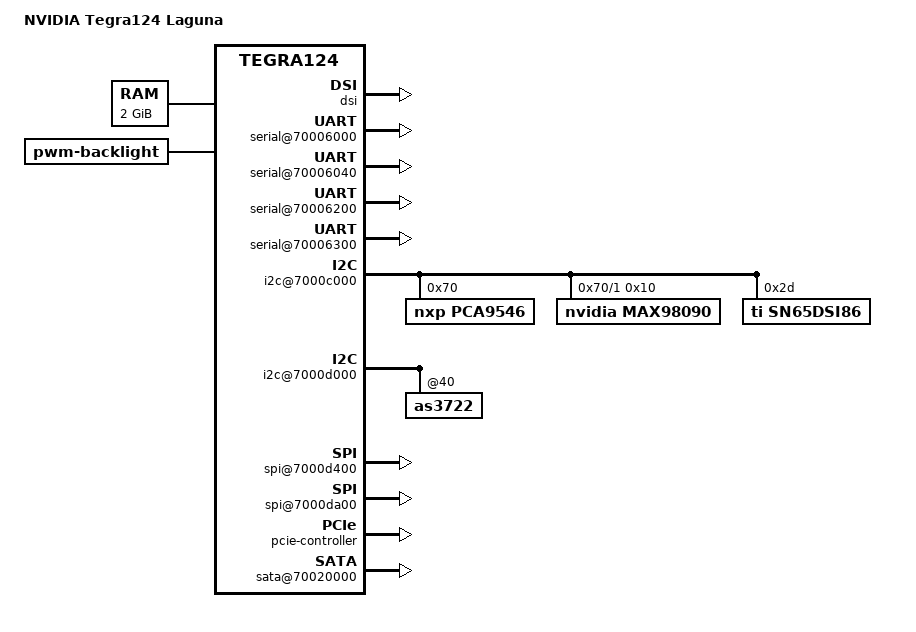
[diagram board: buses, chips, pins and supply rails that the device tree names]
/*
 * arch/arm/boot/dts/tegra124-laguna.dts
 *
 * Copyright (c) 2014, NVIDIA CORPORATION.  All rights reserved.
 *
 * This program is free software; you can redistribute it and/or modify
 * it under the terms of the GNU General Public License as published by
 * the Free Software Foundation; either version 2 of the License, or
 * (at your option) any later version.
 *
 * This program is distributed in the hope that it will be useful, but WITHOUT
 * ANY WARRANTY; without even the implied warranty of MERCHANTABILITY or
 * FITNESS FOR A PARTICULAR PURPOSE.  See the GNU General Public License for
 * more details.
 *
 * You should have received a copy of the GNU General Public License along
 * with this program; if not, write to the Free Software Foundation, Inc.,
 * 51 Franklin Street, Fifth Floor, Boston, MA  02110-1301, USA.
 */

/dts-v1/;

#include "tegra124-soc-shield.dtsi"
#include "tegra124-platforms/tegra124-tn8-keys-e1780-1100-a02.dtsi"
#include "tegra124-platforms/tegra124-pm359-gpio-default.dtsi"
#include "tegra124-platforms/tegra124-pm359-pinmux.dtsi"
#include "tegra124-platforms/tegra124-laguna-power-tree-pm359-0000-a00.dtsi"
#include "panel-s-wqxga-10-1.dtsi"
#include "panel-a-edp-1080p-14-0.dtsi"
#include "panel-a-1080p-14-0.dtsi"
#include "panel-c-wxga-14-0.dtsi"
#include "panel-p-wuxga-10-1.dtsi"
#include "tegra124-platforms/tegra124-laguna-hdmi-pm359-1000-a00.dtsi"
#include "tegra124-platforms/tegra124-pm359-camera-a00.dtsi"

/ {
	model = "NVIDIA Tegra124 Laguna";
	compatible = "nvidia,laguna", "nvidia,tegra124";
	nvidia,dtsfilename = __FILE__;
	#address-cells = <2>;
	#size-cells = <2>;

	aliases {
		i2c6 = &pca9546_i2c0;
		i2c7 = &pca9546_i2c1;
		i2c8 = &pca9546_i2c2;
		i2c9 = &pca9546_i2c3;
	};

	chosen {
		bootargs = "tegraid=40.0.0.00.00 vmalloc=256M video=tegrafb console=ttyS0,115200n8 earlyprintk";
		linux,initrd-start = <0x85000000>;
		linux,initrd-end = <0x851bc400>;
	};

	firmware {
		android {
			compatible = "android,firmware";
			hardware = "laguna";
		};
	};

	pinmux@70000868 {
		pinctrl-names = "default", "drive", "unused", "suspend";
		pinctrl-3 = <&pinmux_suspend>;

		/* Change the pin dap_mclk1_req to required configurations */
		unused_lowpower {
			dap_mclk1_req_pee2 {
			nvidia,pins = "dap_mclk1_req_pee2";
			nvidia,function = "sata";
			nvidia,enable-input = <TEGRA_PIN_DISABLE>;
			nvidia,pull = <TEGRA_PIN_PULL_NONE>;
			nvidia,tristate = <TEGRA_PIN_DISABLE>;
			};
		};

		/* On suspend, make dap_mclk1_req to pull up */
		pinmux_suspend: pins_on_suspend {
		dap_mclk1_req_pee2 {
			nvidia,pins = "dap_mclk1_req_pee2";
			nvidia,pull = <TEGRA_PIN_PULL_UP>;
			};
		};
	};

	host1x {
		/* tegradc.0 */
		dc@54200000 {
			status = "okay";
			nvidia,dc-flags = <TEGRA_DC_FLAG_ENABLED>;
			nvidia,emc-clk-rate = <204000000>;
			nvidia,cmu-enable = <1>;
			nvidia,low-v-win = <0x2>;
			nvidia,fb-bpp = <32>; /* bits per pixel */
			nvidia,fb-flags = <TEGRA_FB_FLIP_ON_PROBE>;
		};
		/* tegradc.1 */
		dc@54240000 {
			status = "okay";
			nvidia,dc-flags = <TEGRA_DC_FLAG_ENABLED>;
			nvidia,emc-clk-rate = <300000000>;
			nvidia,fb-bpp = <32>; /* bits per pixel */
			nvidia,fb-flags = <TEGRA_FB_FLIP_ON_PROBE>;
		};
		dsi {
			nvidia,dsi-controller-vs = <1>;
			status = "okay";
			panel-s-wqxga-10-1 {
				nvidia,panel-rst-gpio = <&gpio TEGRA_GPIO(H, 3) 0>; /* PH3 */
				nvidia,panel-bl-pwm-gpio = <&gpio TEGRA_GPIO(H, 1) 0>; /* PH1 */
				nvidia,dsi-te-gpio = <&gpio TEGRA_GPIO(R, 6) 0>; /* PR6 */
			};
			panel-a-1080p-14-0 {
				nvidia,dsi-edp-bridge = <TEGRA_DSI_ENABLE>;
				nvidia,panel-rst-gpio = <&gpio TEGRA_GPIO(H, 3) 0>; /* PH3 */
				nvidia,panel-bl-pwm-gpio = <&gpio TEGRA_GPIO(H, 1) 0>; /* PH1 */
				nvidia,panel-bridge-en-0-gpio = <&gpio TEGRA_GPIO(I, 0) 0>; /* PI0 */
				nvidia,panel-bridge-refclk-en-gpio = <&gpio TEGRA_GPIO(G, 4) 0>; /* PG4 */
			};
                        panel-p-wuxga-10-1 {
				nvidia,dsi-dpd-pads = <DSIC_DPD_EN DSID_DPD_EN>;
                                nvidia,panel-rst-gpio = <&gpio TEGRA_GPIO(H, 3) 0>; /* PH3 */
                                nvidia,panel-bl-pwm-gpio = <&gpio TEGRA_GPIO(H, 1) 0>; /* PH1 */
                        };
		};
		sor {
			status = "okay";
			nvidia,hpd-gpio = <&gpio 248 0>; /*PFF0*/
			panel-a-edp-1080p-14-0 {
				nvidia,panel-bl-pwm-gpio = <&gpio TEGRA_GPIO(H, 1) 0>; /* PH1 */
			};
			panel-c-wxga-14-0 {
				nvidia,panel-bl-pwm-gpio = <&gpio TEGRA_GPIO(H, 1) 0>; /* PH1 */
			};
		};
		dpaux {
			status = "okay";
		};
	};

        serial@70006000 {
                compatible = "nvidia,tegra114-hsuart";
                status = "okay";
        };

        serial@70006040 {
                compatible = "nvidia,tegra114-hsuart";
                status = "okay";
        };

        serial@70006200 {
                compatible = "nvidia,tegra114-hsuart";
                status = "okay";
        };

	serial@70006300 {
		compatible = "nvidia,tegra20-uart", "nvidia,tegra114-hsuart";
		console-port;
		sqa-automation-port;
		status = "okay";
	};

	i2c@7000c000 {
		pca9546@70 {
			compatible = "nxp,pca9546";
			reg = <0x70>;
			#address-cells = <1>;
			#size-cells = <0>;
			pca9546_i2c0: i2c@0 {
				reg = <0>;
				i2c-mux,deselect-on-exit;
				#address-cells = <1>;
				#size-cells = <0>;
			};
			pca9546_i2c1: i2c@1 {
				reg = <1>;
				i2c-mux,deselect-on-exit;
				#address-cells = <1>;
				#size-cells = <0>;

				max98090@10 {
					compatible = "nvidia,max98090";
					reg = <0x10>;
					maxim,audio-int = <237>;
					maxim,digmic-left-mode = <1>;
					maxim,digmic-right-mode = <1>;
				};
			};
			pca9546_i2c2: i2c@2 {
				reg = <2>;
				i2c-mux,deselect-on-exit;
				#address-cells = <1>;
				#size-cells = <0>;
			};
			pca9546_i2c3: i2c@3 {
				reg = <3>;
				i2c-mux,deselect-on-exit;
				#address-cells = <1>;
				#size-cells = <0>;
			};
		};
		sn65dsi86@2d {
			compatible = "ti,sn65dsi86";
			reg = <0x2d>;
			status = "okay";
		};
	};

	i2c@7000d000 {
		nvidia,bit-banging-xfer-after-shutdown;

		as3722@40 {
			adc_extcon {
				ams,extcon-name = "as3722-extcon";
			};
		};
	};

	memory@0x80000000 {
		device_type = "memory";
		reg = <0x0 0x80000000 0x0 0x80000000>;
	};

	spi@7000d400 {
		status = "okay";
		spi-max-frequency = <25000000>;
	};

	spi@7000da00 {
		status = "okay";
		spi-max-frequency = <25000000>;
	};

	pmc@7000e400 {
		status = "okay";
		nvidia,invert-interrupt;
		nvidia,suspend-mode = <0>;
		nvidia,cpu-pwr-good-time = <500>;
		nvidia,cpu-pwr-off-time = <300>;
		nvidia,core-pwr-good-time = <3845 3845>;
		nvidia,core-pwr-off-time = <2000>;
		nvidia,core-power-req-active-high;
		nvidia,sys-clock-req-active-high;
		nvidia,lp0-vec = <0xf46ff000 2064>;
	};

	pcie-controller {
		nvidia,hot-plug-gpio = <&gpio TEGRA_GPIO(O, 1) 0>;
		nvidia,wake-gpio = <&gpio TEGRA_GPIO(DD, 3) 0>;
		nvidia,x1-slot-gpio = <&tca6416 8 0>;
		nvidia,lane-map = <0x14>;
		status = "okay";

		pci@1,0 {
			nvidia,disable-clock-request;
			status = "okay";
		};

		pci@2,0 {
			nvidia,disable-clock-request;
			status = "okay";
		};
	};

	tegra-snd-max98090 {
		compatible = "nvidia,tegra-snd-max98090";
		nvidia,name = "tegra-snd-max98090";
		nvidia,id = <0>;
		nvidia,codec-name = "max98090.7-0010";
		nvidia,codec-dai-name = "HiFi";
		nvidia,num-links = <1>;
		nvidia,edp-support;
		nvidia,edp-states = <1080 842 0>;
		nvidia,i2s-param,0,audio-port-id	= <1>;
		nvidia,i2s-param,0,is-i2s-master	= <1>;
		nvidia,i2s-param,0,i2s-mode		= <0>;
		nvidia,i2s-param,0,sample-size		= <16>;
		nvidia,i2s-param,0,channels		= <2>;
		nvidia,i2s-param,0,bit-clk		= <1536000>;
	};

	sata@70020000 {
		status = "okay";
		nvidia,pexp-gpio = <&tca6416 9 0>;
		nvidia,enable-sata-port;
        };

	backlight {
		compatible = "pwm-backlight";
		status = "okay";
	};

	cpu_edp {
		nvidia,edp_limit = <15000>;
	};

	gpu_edp {
		nvidia,edp_limit = <8000>;
	};
};
